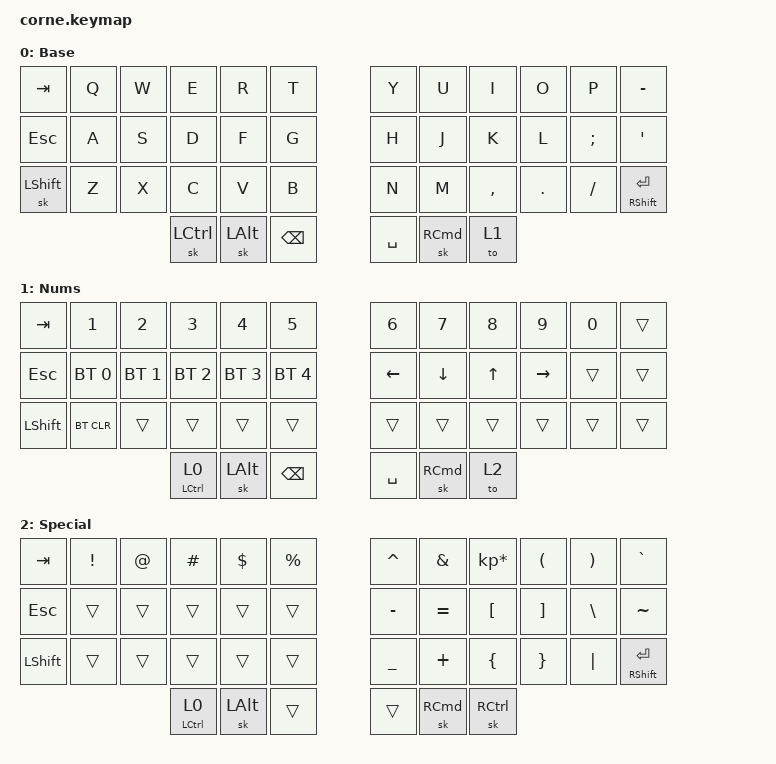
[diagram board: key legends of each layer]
/*
 * Copyright (c) 2020 The ZMK Contributors
 *
 * SPDX-License-Identifier: MIT
 */

#include <behaviors.dtsi>
#include <dt-bindings/zmk/keys.h>
#include <dt-bindings/zmk/bt.h>

&mt {
  flavor = "tap-preferred";
  tapping-term-ms = <200>;
};

&lt {
  tapping-term-ms = <200>;
};


/ {
    behaviors {
        hold_mod_tap_to_layer: behavior_hold_tap {
            compatible = "zmk,behavior-hold-tap";
            #binding-cells = <2>;
            label = "Hold MOD / Tap Layer";
            flavor = "hold-preferred";
            tapping-term-ms = <200>;
            bindings = <&kp>, <&to>;
        };
    };

        keymap {
                compatible = "zmk,keymap";

                default_layer {
// -----------------------------------------------------------------------------------------
// |  TAB |  Q  |  W  |  E  |  R  |  T  |   |  Y  |  U   |  I  |  O  |  P  | - |
// | ESC |  A  |  S  |  D  |  F  |  G  |   |  H  |  J   |  K  |  L  |  ;  |  '   |
// | SHFT |  Z  |  X  |  C  |  V  |  B  |   |  N  |  M   |  ,  |  .  |  /  | ENT/SHFT  |
//                 | CTRL | OPT | BKSP |   | SPACE | CMD  | 1 |
                        display-name = "Base";
                        bindings = <
   &kp TAB   &kp Q &kp W &kp E &kp R &kp T   &kp Y &kp U  &kp I     &kp O   &kp P    &kp MINUS
   &kp ESC &kp A &kp S &kp D &kp F &kp G   &kp H &kp J  &kp K     &kp L   &kp SEMI &kp SQT
   &sk LSHFT &kp Z &kp X &kp C &kp V &kp B   &kp N &kp M  &kp COMMA &kp DOT &kp FSLH &mt RSHFT RET
                  &sk LCTRL  &sk LALT  &kp BSPC   &kp SPACE  &sk RCMD  &to 1
                        >;
                };
                lower_layer {
// -----------------------------------------------------------------------------------------
// |  TAB |  1  |  2  |  3  |  4  |  5  |   |  6  |  7  |  8  |  9  |  0  | BKSP |
// | ESC  | BT1 | BT2 | BT3 | BT4 | BT5 |   | LFT | DWN |  UP | RGT |     |      |
// | SHFT | BTCLR |    |    |     |     |   |     |     |     |     |     |      |
//                  | 0 |  ALT   | BKSC |   | SPC |  CMD   | 2 |
                        display-name = "Nums";
                        bindings = <
   &kp TAB    &kp N1       &kp N2       &kp N3       &kp N4       &kp N5         &kp N6   &kp N7   &kp N8 &kp N9    &kp N0 &trans
   &kp ESC &bt BT_SEL 0 &bt BT_SEL 1 &bt BT_SEL 2 &bt BT_SEL 3 &bt BT_SEL 4   &kp LEFT &kp DOWN &kp UP &kp RIGHT &trans &trans
   &kp LSHFT  &bt BT_CLR       &trans       &trans       &trans       &trans         &trans   &trans   &trans &trans    &trans &trans
                          	        &hold_mod_tap_to_layer LCTRL 0     &sk LALT       &kp BSPC      &kp SPACE  &sk RCMD &to 2
                        >;
                };

                raise_layer {
// -----------------------------------------------------------------------------------------
// |  TAB |  !  |  @  |  #  |  $  |  %  |   |  ^  |  &  |  *  |  (  |  )  | ` |
// | ESC  |     |     |     |     |     |   |  -  |  =  |  [  |  ]  |  \  |  ~   |
// | SHFT |     |     |     |     |     |   |  _  |  +  |  {  |  }  | "|" |  ENT/SHFT   |
//                | 0 |  ALT   | BKSP |   | SPC |  CMD   | CTRL |
                        display-name = "Special";
                        bindings = <
   &kp  TAB  &kp EXCL &kp AT &kp HASH &kp DLLR &kp PRCNT   &kp CARET &kp AMPS  &kp KP_MULTIPLY &kp LPAR &kp RPAR &kp GRAVE
   &kp ESC   &trans   &trans &trans   &trans   &trans      &kp MINUS &kp EQUAL &kp LBKT        &kp RBKT &kp BSLH &kp TILDE
   &kp LSHFT &trans   &trans &trans   &trans   &trans      &kp UNDER &kp PLUS  &kp LBRC        &kp RBRC &kp PIPE &mt RSHFT RET
                    	         &hold_mod_tap_to_layer LCTRL 0 &sk LALT  &trans      &trans   &sk RCMD   &sk RCTRL
                        >;
                };

                extra_1 {
                        status = "reserved";
                };

                extra_2 {
                        status = "reserved";
                };

                extra_3 {
                        status = "reserved";
                };
        };
};
